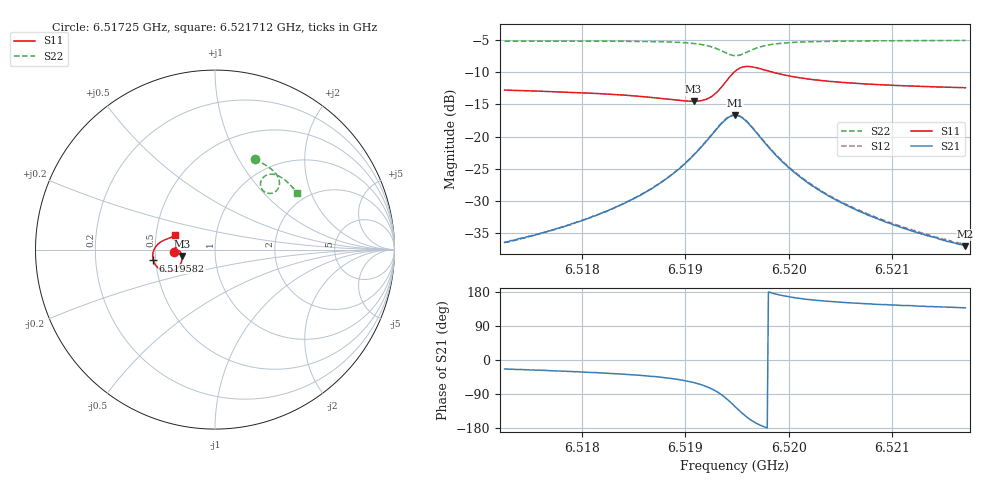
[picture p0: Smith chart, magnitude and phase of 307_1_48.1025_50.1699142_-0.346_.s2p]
#  HZ  S  RI  R  50.00
! Rohde & Schwarz Vector Network Analyzer
! Rohde-Schwarz,ZNB20-2Port,1311601062101988,3.16
! Created: UTC 12/23/2023, 4:05:22 AM
! freq[Hz]  re:S11  im:S11  re:S21  im:S21  re:S12  im:S12  re:S22  im:S22
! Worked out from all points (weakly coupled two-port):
!   401 points, 6.51725 GHz to 6.521712 GHz, reference 50 ohm
!   highest |S21| = -16.70 dB at 6.519481 GHz (marker M1); lowest = -37.0 dB at 6.521712 GHz (marker M2)
!   lowest |S11| = -14.5 dB at 6.51908 GHz (marker M3), VSWR 1.46, Z = 34.4 - j2.48 ohm
!   |S11| at or under -10 dB: start of sweep to 6.519474 GHz; 6.51984 GHz to end of sweep
!   |S22| runs from -7.5 to -5.1 dB; largest |S21 - S12| = 0.0045
!   S11 on the Smith chart (normalised r, x): 6.51725 GHz: 0.63, -0.02; 6.519582 GHz: 0.49, -0.07; 6.521712 GHz: 0.63, +0.11
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6.5172502e9  -0.2288 -0.0114  0.0138 -0.00606  0.014 -0.00555  0.2211 0.5023
6.5176853e9  -0.2234 -0.00567  0.0163 -0.00869  0.0165 -0.00824  0.2531 0.4871
6.5179976e9  -0.2184 -0.0026  0.0189 -0.0116  0.0194 -0.0112  0.2762 0.4745
6.518388e9  -0.2098 -0.0016  0.0237 -0.018  0.0242 -0.0173  0.3054 0.4548
6.518745e9  -0.1983 -0.00748  0.0303 -0.0304  0.0313 -0.0295  0.3333 0.4298
6.5189235e9  -0.1907 -0.0173  0.0344 -0.0427  0.0359 -0.0419  0.3471 0.4114
6.5190796e9  -0.1844 -0.0348  0.0363 -0.0615  0.0384 -0.0607  0.3573 0.3879
6.51918e9  -0.1839 -0.0548  0.0333 -0.0806  0.036 -0.0803  0.3593 0.3664
6.5192581e9  -0.1905 -0.0769  0.0241 -0.1007  0.0273 -0.1007  0.3543 0.3459
6.5193139e9  -0.2027 -0.0957  0.0103 -0.1165  0.0137 -0.1172  0.3442 0.3302
6.519392e9  -0.238 -0.1185  -0.0247 -0.1334  -0.021 -0.1352  0.3165 0.314
6.5194812e9  -0.2993 -0.114  -0.0791 -0.1229  -0.0763 -0.126  0.2739 0.323
6.5195258e9  -0.3254 -0.0939  -0.1 -0.1025  -0.0982 -0.1061  0.259 0.3406
6.5195816e9  -0.3437 -0.0606  -0.1126 -0.0714  -0.1116 -0.075  0.2532 0.3664
6.5196932e9  -0.3407 -0.0032  -0.1037 -0.0224  -0.1038 -0.0257  0.271 0.4043
6.5198047e9  -0.3208 0.0276  -0.0829 0.00063  -0.0837 -0.0018  0.297 0.4181
6.5200055e9  -0.2907 0.0492  -0.0554 0.0132  -0.0564 0.0118  0.3335 0.418
6.5202286e9  -0.2706 0.0579  -0.0385 0.0151  -0.0396 0.0142  0.3605 0.4073
6.5205186e9  -0.2552 0.0635  -0.0269 0.0142  -0.0277 0.0135  0.386 0.3907
6.520976e9  -0.2404 0.0701  -0.0175 0.012  -0.0181 0.0118  0.417 0.3633
6.5213999e9  -0.2309 0.0758  -0.0129 0.0105  -0.0134 0.0103  0.4408 0.3372
6.5217122e9  -0.2254 0.0799  -0.0105 0.00944  -0.011 0.00931  0.4563 0.3178
